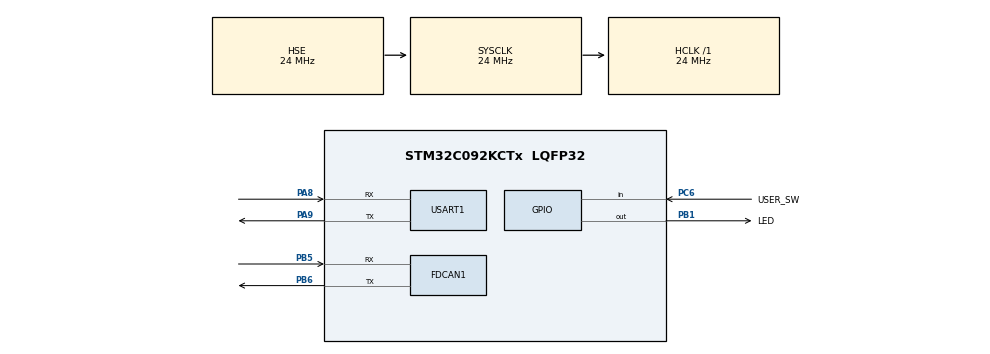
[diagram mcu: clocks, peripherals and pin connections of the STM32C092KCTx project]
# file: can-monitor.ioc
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FDCAN1.AutoRetransmission=ENABLE
FDCAN1.CalculateBaudRateNominal=1000000
FDCAN1.CalculateTimeBitNominal=1000
FDCAN1.CalculateTimeQuantumNominal=41.666666666666664
FDCAN1.DataSyncJumpWidth=2
FDCAN1.DataTimeSeg1=3
FDCAN1.DataTimeSeg2=2
FDCAN1.FrameFormat=FDCAN_FRAME_FD_BRS
FDCAN1.Mode=FDCAN_MODE_NORMAL
FDCAN1.NominalPrescaler=1
FDCAN1.NominalSyncJumpWidth=5
FDCAN1.NominalTimeSeg1=18
FDCAN1.NominalTimeSeg2=5
Mcu.Family=STM32C0
Mcu.Name=STM32C092KCTx
Mcu.Package=LQFP32
NVIC.FDCAN1_IT0_IRQn=true\:0\:0\:false\:false\:true\:true\:true\:true
PA13.Mode=Serial_Wire
PA13.Signal=DEBUG_SWDIO
PA14-BOOT0.Mode=Serial_Wire
PA14-BOOT0.Signal=DEBUG_SWCLK
PA8.Mode=Asynchronous
PA8.Signal=USART1_RX
PA9.Mode=Asynchronous
PA9.Signal=USART1_TX
PB1.GPIO_Label=LED
PB1.Signal=GPIO_Output
PB5.Mode=FDCAN_Activate
PB5.Signal=FDCAN1_RX
PB6.Mode=FDCAN_Activate
PB6.Signal=FDCAN1_TX
PC14-OSCX_IN(PC14).Mode=HSE-External-Oscillator
PC14-OSCX_IN(PC14).Signal=RCC_OSCX_IN
PC15-OSCX_OUT(PC15).Mode=HSE-External-Oscillator
PC15-OSCX_OUT(PC15).Signal=RCC_OSCX_OUT
PC6.GPIO_Label=USER_SW
PC6.GPIO_PuPd=GPIO_PULLUP
PC6.Signal=GPIO_Input
ProjectManager.HeapSize=0x200
ProjectManager.StackSize=0x400
ProjectManager.TargetToolchain=STM32CubeIDE
RCC.ADCFreq_Value=24000000
RCC.AHBFreq_Value=24000000
RCC.CortexFreq_Value=24000000
RCC.EXTERNAL_CLOCK_VALUE=12288000
RCC.HCLKFreq_Value=24000000
RCC.HSE_VALUE=24000000
RCC.HSISYSCLKDivider=RCC_HSI_DIV2
RCC.HSI_VALUE=48000000
RCC.LSE_VALUE=32768
RCC.SYSCLKFreq_VALUE=24000000
RCC.SYSCLKSource=RCC_SYSCLKSOURCE_HSE
USART1.VirtualMode-Asynchronous=VM_ASYNC
board=custom

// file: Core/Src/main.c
/* USER CODE BEGIN Header */
/**
  ******************************************************************************
  * @file           : main.c
  * @brief          : Main program body
  ******************************************************************************
  * @attention
  *
  * Copyright (c) 2025 STMicroelectronics.
  * All rights reserved.
  *
  * This software is licensed under terms that can be found in the LICENSE file
  * in the root directory of this software component.
  * If no LICENSE file comes with this software, it is provided AS-IS.
  *
  ******************************************************************************
  */
/* USER CODE END Header */
#include "main.h"

/* USER CODE BEGIN Includes */
#include <string.h>
/* USER CODE END Includes */

/* USER CODE BEGIN PTD */
typedef struct _can_message {
  FDCAN_RxHeaderTypeDef header;
  uint8_t data[8];
} can_message_t;
/* USER CODE END PTD */

/* USER CODE BEGIN PD */
#define MESSAGE_QUEUE_SIZE 32
/* USER CODE END PD */

FDCAN_HandleTypeDef hfdcan1;

UART_HandleTypeDef huart1;

/* USER CODE BEGIN PV */
can_message_t message_queue[MESSAGE_QUEUE_SIZE];
uint32_t q_head = 0;
uint32_t q_tail = 0;
uint8_t q_full = 0;
/* USER CODE END PV */

void SystemClock_Config(void);
static void MX_GPIO_Init(void);
static void MX_FDCAN1_Init(void);
static void MX_USART1_UART_Init(void);

/* USER CODE BEGIN 0 */
void send_test_can_message()
{
  FDCAN_TxHeaderTypeDef TxHeader = {0};
  uint8_t TxData[8] = {0xDE, 0xAD, 0xBE, 0xEF};

  TxHeader.Identifier = 0x721;
  TxHeader.IdType = FDCAN_STANDARD_ID;
  TxHeader.TxFrameType = FDCAN_DATA_FRAME;
  TxHeader.DataLength = FDCAN_DLC_BYTES_4;
  TxHeader.ErrorStateIndicator = FDCAN_ESI_ACTIVE;
  TxHeader.BitRateSwitch = FDCAN_BRS_OFF;
  TxHeader.FDFormat = FDCAN_CLASSIC_CAN;
  TxHeader.TxEventFifoControl = FDCAN_NO_TX_EVENTS;
  TxHeader.MessageMarker = 0;

  if (HAL_FDCAN_AddMessageToTxFifoQ(&hfdcan1, &TxHeader, TxData) != HAL_OK)
  {
    Error_Handler();
  }
}

void send_test_canfd_message()
{
  FDCAN_TxHeaderTypeDef TxHeader = {0};
  uint8_t TxData[8] = {0x8A, 0xD1, 0x0A, 0xC7, 0x1B, 0x17, 0xEE};

  TxHeader.Identifier = 0x7df;
  TxHeader.IdType = FDCAN_STANDARD_ID;
  TxHeader.FDFormat = 1;
  TxHeader.BitRateSwitch = 1;
  TxHeader.TxFrameType = FDCAN_DATA_FRAME;
  TxHeader.DataLength = FDCAN_DLC_BYTES_7;
  TxHeader.ErrorStateIndicator = FDCAN_ESI_ACTIVE;
  TxHeader.BitRateSwitch = FDCAN_BRS_OFF;
  TxHeader.FDFormat = FDCAN_CLASSIC_CAN;
  TxHeader.TxEventFifoControl = FDCAN_NO_TX_EVENTS;
  TxHeader.MessageMarker = 0;

  if (HAL_FDCAN_AddMessageToTxFifoQ(&hfdcan1, &TxHeader, TxData) != HAL_OK)
  {
    Error_Handler();
  }
}

void put_string(const char* message)
{
  HAL_UART_Transmit(&huart1, (const uint8_t *)message, strlen(message), 1000);
}

void put_hex(uint8_t data)
{
    uint8_t elem = data >> 4;
    int i;
    char message[3];
    message[0] = ' ';
    for (i = 0; i < 2; ++i) {
        elem = (elem < 10) ? elem + '0' : elem + 'a' - 10;
        message[i + 1] = elem;
        elem = data & 0x0f;
    }
    HAL_UART_Transmit(&huart1, (const uint8_t *)message, 3, 1000);
}

void process_command(char *command)
{
  if (strlen(command) == 0) {
    return;
  }
  if (strcmp(command, "tx") == 0) {
    send_test_can_message();
  } else if (strcmp(command, "txfd") == 0) {
    send_test_canfd_message();
  } else {
    put_string(command);
    put_string(": Unknown command\r\n");
  }
}
/* USER CODE END 0 */

int main(void)
{

  /* MCU Configuration--------------------------------------------------------*/

  /* Reset of all peripherals, Initializes the Flash interface and the Systick. */
  HAL_Init();

  /* Configure the system clock */
  SystemClock_Config();

  /* Initialize all configured peripherals */
  MX_GPIO_Init();
  MX_FDCAN1_Init();
  MX_USART1_UART_Init();
  /* USER CODE BEGIN 2 */
  char command[64];
  int index = 0;
  put_string("******************************\r\n");
  put_string("  CAN Bus Monitor\r\n");
  put_string("******************************\r\n");
  /* USER CODE END 2 */

  /* Infinite loop */
  while (1)
  {

    /* USER CODE BEGIN 3 */
    __disable_irq();
    if (q_head != q_tail || q_full) {
      FDCAN_RxHeaderTypeDef *rx_header = &message_queue[q_tail].header;
      uint8_t *rx_data = message_queue[q_tail].data;
      q_tail = (q_tail + 1) % MESSAGE_QUEUE_SIZE;
      q_full = 0;
      __enable_irq();
      put_string(rx_header->FDFormat ? "f" : "c");
      put_string(rx_header->BitRateSwitch ? "b " : "- ");
      if (rx_header->IdType == FDCAN_STANDARD_ID) {
        put_string("std[");
        put_hex((rx_header->Identifier >> 8) & 0xff);
        put_hex(rx_header->Identifier & 0xff);
      } else {
        put_string("ext[");
        put_hex((rx_header->Identifier >> 24) & 0xff);
        put_hex((rx_header->Identifier >> 16) & 0xff);
        put_hex((rx_header->Identifier >> 8) & 0xff);
        put_hex(rx_header->Identifier & 0xff);
      }
      put_string(" ]:");
      for (uint32_t i = 0; i < rx_header->DataLength; ++i) {
        put_hex(rx_data[i]);
      }
      put_string("\r\n");
    } else {
      __enable_irq();
    }
    if (__HAL_UART_GET_FLAG(&huart1, UART_FLAG_RXNE)) {
      uint8_t data[1];
      if (HAL_UART_Receive(&huart1, data, sizeof(data), 1000) != HAL_OK) {
        Error_Handler();
      }
      HAL_UART_Transmit(&huart1, data, sizeof(data), 1000);
      if (data[0] == '\r') {
        data[0] = '\n';
        HAL_UART_Transmit(&huart1, data, sizeof(data), 1000);
        command[index] = '\0';
        index = 0;
        process_command(command);
      } else if (index < sizeof(command) - 1) {
        command[index++] = data[0];
      }
    }

    if (HAL_GPIO_ReadPin(USER_SW_GPIO_Port, USER_SW_Pin) == 0) {
      HAL_GPIO_TogglePin(LED_GPIO_Port, LED_Pin);
      send_test_can_message();
      HAL_Delay(100);
      while (HAL_GPIO_ReadPin(USER_SW_GPIO_Port, USER_SW_Pin) == 0) {}
    }
  }
  /* USER CODE END 3 */
}

void SystemClock_Config(void)
{
  RCC_OscInitTypeDef RCC_OscInitStruct = {0};
  RCC_ClkInitTypeDef RCC_ClkInitStruct = {0};

  __HAL_FLASH_SET_LATENCY(FLASH_LATENCY_0);

  /** Initializes the RCC Oscillators according to the specified parameters
  * in the RCC_OscInitTypeDef structure.
  */
  RCC_OscInitStruct.OscillatorType = RCC_OSCILLATORTYPE_HSE;
  RCC_OscInitStruct.HSEState = RCC_HSE_ON;
  if (HAL_RCC_OscConfig(&RCC_OscInitStruct) != HAL_OK)
  {
    Error_Handler();
  }

  /** Initializes the CPU, AHB and APB buses clocks
  */
  RCC_ClkInitStruct.ClockType = RCC_CLOCKTYPE_HCLK|RCC_CLOCKTYPE_SYSCLK
                              |RCC_CLOCKTYPE_PCLK1;
  RCC_ClkInitStruct.SYSCLKSource = RCC_SYSCLKSOURCE_HSE;
  RCC_ClkInitStruct.SYSCLKDivider = RCC_SYSCLK_DIV1;
  RCC_ClkInitStruct.AHBCLKDivider = RCC_HCLK_DIV1;
  RCC_ClkInitStruct.APB1CLKDivider = RCC_APB1_DIV1;

  if (HAL_RCC_ClockConfig(&RCC_ClkInitStruct, FLASH_LATENCY_0) != HAL_OK)
  {
    Error_Handler();
  }
}

static void MX_FDCAN1_Init(void)
{

  hfdcan1.Instance = FDCAN1;
  hfdcan1.Init.ClockDivider = FDCAN_CLOCK_DIV1;
  hfdcan1.Init.FrameFormat = FDCAN_FRAME_FD_BRS;
  hfdcan1.Init.Mode = FDCAN_MODE_NORMAL;
  hfdcan1.Init.AutoRetransmission = ENABLE;
  hfdcan1.Init.TransmitPause = DISABLE;
  hfdcan1.Init.ProtocolException = DISABLE;
  hfdcan1.Init.NominalPrescaler = 1;
  hfdcan1.Init.NominalSyncJumpWidth = 5;
  hfdcan1.Init.NominalTimeSeg1 = 18;
  hfdcan1.Init.NominalTimeSeg2 = 5;
  hfdcan1.Init.DataPrescaler = 1;
  hfdcan1.Init.DataSyncJumpWidth = 2;
  hfdcan1.Init.DataTimeSeg1 = 3;
  hfdcan1.Init.DataTimeSeg2 = 2;
  hfdcan1.Init.StdFiltersNbr = 0;
  hfdcan1.Init.ExtFiltersNbr = 0;
  hfdcan1.Init.TxFifoQueueMode = FDCAN_TX_FIFO_OPERATION;
  if (HAL_FDCAN_Init(&hfdcan1) != HAL_OK)
  {
    Error_Handler();
  }
  /* USER CODE BEGIN FDCAN1_Init 2 */
  if (HAL_FDCAN_ConfigTxDelayCompensation(&hfdcan1, hfdcan1.Init.DataTimeSeg1,
                                          hfdcan1.Init.DataTimeSeg1) != HAL_OK) {
    put_string("Failed to configure tx delay compensation\r\n");
    Error_Handler();
  }
  if (HAL_FDCAN_EnableTxDelayCompensation(&hfdcan1) != HAL_OK) {
    put_string("Failed to enable tx delay compensation\r\n");
    Error_Handler();
  }

  if (HAL_FDCAN_ConfigGlobalFilter(
        &hfdcan1, FDCAN_ACCEPT_IN_RX_FIFO0, FDCAN_ACCEPT_IN_RX_FIFO0,
        FDCAN_FILTER_REMOTE, FDCAN_FILTER_REMOTE) != HAL_OK)
  {
    Error_Handler();
  }

  // Start FDCAN
  if (HAL_FDCAN_Start(&hfdcan1) != HAL_OK)
  {
    Error_Handler();
  }

  // Activate reception notification
  HAL_FDCAN_ActivateNotification(&hfdcan1, FDCAN_IT_RX_FIFO0_NEW_MESSAGE, 0);
  /* USER CODE END FDCAN1_Init 2 */

}

static void MX_USART1_UART_Init(void)
{

  huart1.Instance = USART1;
  huart1.Init.BaudRate = 115200;
  huart1.Init.WordLength = UART_WORDLENGTH_8B;
  huart1.Init.StopBits = UART_STOPBITS_1;
  huart1.Init.Parity = UART_PARITY_NONE;
  huart1.Init.Mode = UART_MODE_TX_RX;
  huart1.Init.HwFlowCtl = UART_HWCONTROL_NONE;
  huart1.Init.OverSampling = UART_OVERSAMPLING_16;
  huart1.Init.OneBitSampling = UART_ONE_BIT_SAMPLE_DISABLE;
  huart1.Init.ClockPrescaler = UART_PRESCALER_DIV1;
  huart1.AdvancedInit.AdvFeatureInit = UART_ADVFEATURE_NO_INIT;
  if (HAL_UART_Init(&huart1) != HAL_OK)
  {
    Error_Handler();
  }
  if (HAL_UARTEx_SetTxFifoThreshold(&huart1, UART_TXFIFO_THRESHOLD_1_8) != HAL_OK)
  {
    Error_Handler();
  }
  if (HAL_UARTEx_SetRxFifoThreshold(&huart1, UART_RXFIFO_THRESHOLD_1_8) != HAL_OK)
  {
    Error_Handler();
  }
  if (HAL_UARTEx_DisableFifoMode(&huart1) != HAL_OK)
  {
    Error_Handler();
  }

}

static void MX_GPIO_Init(void)
{
  GPIO_InitTypeDef GPIO_InitStruct = {0};

  /* GPIO Ports Clock Enable */
  __HAL_RCC_GPIOC_CLK_ENABLE();
  __HAL_RCC_GPIOB_CLK_ENABLE();
  __HAL_RCC_GPIOA_CLK_ENABLE();

  /*Configure GPIO pin Output Level */
  HAL_GPIO_WritePin(LED_GPIO_Port, LED_Pin, GPIO_PIN_RESET);

  /*Configure GPIO pin : LED_Pin */
  GPIO_InitStruct.Pin = LED_Pin;
  GPIO_InitStruct.Mode = GPIO_MODE_OUTPUT_PP;
  GPIO_InitStruct.Pull = GPIO_NOPULL;
  GPIO_InitStruct.Speed = GPIO_SPEED_FREQ_LOW;
  HAL_GPIO_Init(LED_GPIO_Port, &GPIO_InitStruct);

  /*Configure GPIO pin : USER_SW_Pin */
  GPIO_InitStruct.Pin = USER_SW_Pin;
  GPIO_InitStruct.Mode = GPIO_MODE_INPUT;
  GPIO_InitStruct.Pull = GPIO_PULLUP;
  HAL_GPIO_Init(USER_SW_GPIO_Port, &GPIO_InitStruct);

}

/* USER CODE BEGIN 4 */
void HAL_FDCAN_RxFifo0Callback(FDCAN_HandleTypeDef *hfdcan, uint32_t RxFifo0ITs)
{
  if ((RxFifo0ITs & FDCAN_IT_RX_FIFO0_NEW_MESSAGE) != 0)
  {
    FDCAN_RxHeaderTypeDef dummy_header;
    uint8_t dummy_data[8];
    FDCAN_RxHeaderTypeDef *rx_header;
    uint8_t *rx_data;
    if (q_full)
    {
      rx_header = &dummy_header;
      rx_data = dummy_data;
    }
    else
    {
      rx_header = &message_queue[q_head].header;
      rx_data = message_queue[q_head].data;
    }

    hfdcan->ErrorCode = HAL_FDCAN_ERROR_NONE;
    if (HAL_FDCAN_GetRxMessage(hfdcan, FDCAN_RX_FIFO0, rx_header, rx_data) != HAL_OK)
    {
      Error_Handler();
    }
    else if (!q_full)
    {
      q_head = (q_head + 1) % MESSAGE_QUEUE_SIZE;
      q_full = q_head == q_tail;
    }
  }
}
/* USER CODE END 4 */

void Error_Handler(void)
{
  /* USER CODE BEGIN Error_Handler_Debug */
  /* User can add his own implementation to report the HAL error return state */
  __disable_irq();
  const char *message = "An error encountered!!\r\n";
  HAL_UART_Transmit(&huart1, (const uint8_t *)message, strlen(message), 1000);
  while (1)
  {
  }
  /* USER CODE END Error_Handler_Debug */
}
